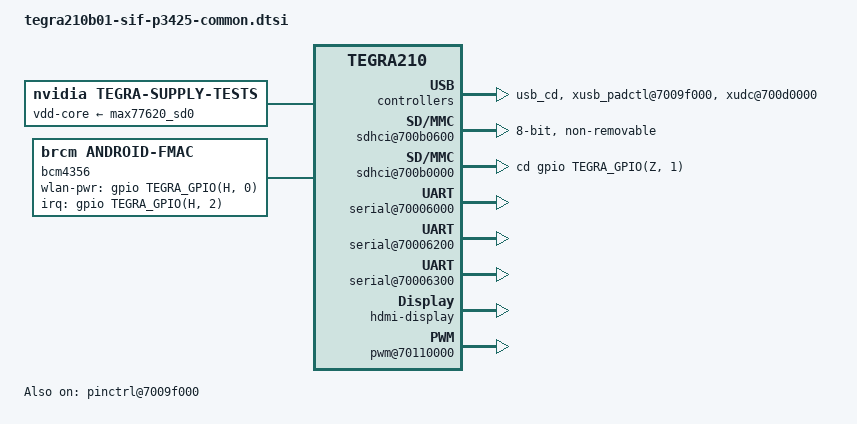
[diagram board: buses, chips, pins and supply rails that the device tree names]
/*
 * Copyright (c) 2018-2019, NVIDIA CORPORATION.  All rights reserved.
 *
 * This program is free software; you can redistribute it and/or modify
 * it under the terms of the GNU General Public License as published by
 * the Free Software Foundation; either version 2 of the License, or
 * (at your option) any later version.
 *
 * This program is distributed in the hope that it will be useful, but WITHOUT
 * ANY WARRANTY; without even the implied warranty of MERCHANTABILITY or
 * FITNESS FOR A PARTICULAR PURPOSE.  See the GNU General Public License for
 * more details.
 *
 * You should have received a copy of the GNU General Public License along
 * with this program; if not, write to the Free Software Foundation, Inc.,
 * 51 Franklin Street, Fifth Floor, Boston, MA  02110-1301, USA.
 */

/dts-v1/;

/memreserve/ 0x80000000 0x00020000;

#include <tegra210b01-soc/tegra210b01-soc-common-platform.dtsi>
#include <tegra210-soc/mods-simple-bus.dtsi>
#include <tegra210-soc/tegra210-audio.dtsi>
#include <t210-common-platforms/tegra210-p2530-common.dtsi>
#include "sif-platforms/tegra210b01-sif-gpio-p3425-0500-a01.dtsi"
#include "foster-platforms/tegra210-pinmux-drive-sdmmc-common.dtsi"
#include "foster-platforms/tegra210-loki-e-comms.dtsi"
#include "sif-platforms/tegra210b01-sif-pwm-fan.dtsi"
#include "foster-platforms/tegra210-darcy-prods.dtsi"
#include <t210-common-platforms/tegra210-ers-hdmi-e2190-1100-a00.dtsi>
#include "sif-platforms/tegra210b01-sif-thermal-fan-est.dtsi"
#include "foster-platforms/tegra210-loki-e-keys-p2530-0032-e00.dtsi"
#include <dt-bindings/iio/meter/ina3221x.h>
#include "sif-platforms/tegra210b01-sif-cpufreq.dtsi"
#include "sif-platforms/tegra210b01-sif-power-dvfs.dtsi"
#include "foster-platforms/tegra210-foster-powermon-p2530-0930-e01.dtsi"
#include "sif-platforms/tegra210b01-sif-p3425-a01-padvoltage-default.dtsi"

/ {
	firmware {
		android {
			compatible = "android,firmware";
			vbmeta {
				compatible = "android,vbmeta";
				parts = "vbmeta,DTB,LNX,APP,vendor,SOS";
			};
			fstab {
				compatible = "android,fstab";
				vendor {
					compatible = "android,vendor";
					dev = "/dev/block/platform/sdhci-tegra.3/by-name/vendor";
					type = "ext4";
					mnt_flags = "ro,noatime";
					fsmgr_flags = "wait,avb";
				};
			};
		};
	};

	usb_cd: usb_cd@7009f000 {
		compatible = "nvidia,tegra210-usb-cd";
		reg = <0x0 0x7009f000 0x0 0x1000>;
		phys = <&{/xusb_padctl@7009f000/pads/usb2/lanes/usb2-0}>;
		phy-names = "otg-phy";
		status = "okay";
	};

	gpio-keys {
		power {
			gpios = <&gpio TEGRA_GPIO(X, 7) GPIO_ACTIVE_LOW>;
			nvidia,pmc-wakeup = <&tegra_pmc
				PMC_WAKE_TYPE_GPIO 26 PMC_TRIGGER_TYPE_NONE>;
		};

		sw_lid {
			status="disabled";
		};
	};

	psy_extcon_xudc {
		/delete-property/ dt-override-status-odm-data;
	};

	se_elp@70420000 {
		status = "disabled";
	};

	dummy_cool_dev: dummy-cool-dev {
		compatible = "dummy-cooling-dev";
		#cooling-cells = <2>; /* min followed by max */
	};

	pmc@7000e400 {
		#nvidia,wake-cells = <3>;
		nvidia,suspend-mode = <0>;
		nvidia,cpu-pwr-good-time = <0>;
		nvidia,cpu-pwr-off-time = <0>;
		nvidia,core-pwr-good-time = <4587 3876>;
		nvidia,core-pwr-off-time = <39065>;
		nvidia,core-power-req-active-high;
		nvidia,sys-clock-req-active-high;
		nvidia,restrict-voltage-switch;
		pinctrl_iopad_default:iopad-defaults {
			sdmmc-io-pads {
				pins = "sdmmc1";
				nvidia,enable-voltage-switching;
			};
			sdmmc-dpd-enable {
				pins = "emmc2";
				low-power-enable;
			};
		};
	};

	sdhci@700b0600 { /* SDMMC4 for EMMC */
		uhs-mask = <0x0>;
		mmc-hs400-enhanced-strobe;
		built-in;
		power-off-rail;
		bus-width = <8>;
		mmc-ddr-1_8v;
		mmc-hs200-1_8v;
		mmc-hs400-1_8v;
		no-sdio;
		no-sd;
		non-removable;
		status = "okay";
	};

	sdhci@700b0000 { /* SDMMC1 for SD card */
		default-drv-type = <1>;
		mmc-ocr-mask = <0x0>;
		cd-gpios = <&gpio TEGRA_GPIO(Z, 1) 0>;
		sd-uhs-sdr104;
		sd-uhs-sdr50;
		sd-uhs-sdr25;
		sd-uhs-sdr12;
		mmc-ddr-1_8v;
		mmc-hs200-1_8v;
		nvidia,cd-wakeup-capable;
		no-sdio;
		no-mmc;
		status = "okay";
	};

	chosen {
		bootargs = "earlycon=uart8250,mmio32,0x70006000,androidboot.secureos=tlk";
		stdout-path = &uarta;
		nvidia,tegra-darcy-sku;
		nvidia,tegra-sif-sku;
		no-tnid-sn;
		nvidia,bootloader-xusb-enable;
		nvidia,bootloader-vbus-enable=<0x1>;
		fastboot-instructions = "Press Power Button to move highlight\nLong press Power Button to select\n";
		nvidia,fastboot_without_usb;
		nvidia,gpu-disable-power-saving;
		verified-boot {
			poweroff-on-red-state;
			ui-timeout-ms {
				yellow-state = <7000>;
				red-state = <10000>;
				red-state-eio = <10000>;
				orange-state = <10000>;
			};
		};
	};

	serial@70006000 {
		compatible = "nvidia,tegra20-uart", "nvidia,tegra114-hsuart";
		console-port;
		sqa-automation-port;
		enable-rx-poll-timer;
		/delete-property/ resets;
		/delete-property/ reset-names;
		status = "okay";
	};

	serial@70006200 {
		compatible = "nvidia,tegra114-hsuart";
		dma-names = "tx";
		nvidia,adjust-baud-rates = <921600 921600 100>;
		status = "okay";
	};

	serial@70006300 {
		compatible = "nvidia,tegra114-hsuart";
		status = "okay";
	};


	spi@7000da00 {
		status = "disabled";
	};

	efuse@7000f800 {
		efuse-burn {
			nvidia,redundant-aid-war;
		};
	};

	aconnect@702c0000 {
		ahub {
			i2s@702d1100 {
				pinctrl-names = "dap_active", "dap_inactive";
				pinctrl-0 = <>;
				pinctrl-1 = <>;
				regulator-supplies = "vdd-1v8-spi-hv", "vdd-1v8-spi-hv-bias";
				vdd-1v8-spi-hv-supply = <&max77620_sd3>;
				vdd-1v8-spi-hv-bias-supply = <&max77620_sd3>;
				fsync-width = <0>;
			};
		};
	};

	watchdog@60005100 {
		nvidia,enable-on-init;
		timeout-sec = <120>;
		status = "disabled";
	};

	extcon {
		extcon@0 {
			status = "disabled";
		};
	};

	mailbox@70098000 {
		status = "okay";
	};

	xusb_padctl@7009f000 {
		status = "okay";

		pads {
			usb2 {
				status = "okay";

				lanes {
					usb2-0 {
						status = "okay";
						nvidia,function = "xusb";
					};
				};
			};

			pcie {
				status = "okay";

				lanes {
					pcie-0 {
						status = "okay";
						nvidia,function = "pcie-x1";
					};
					pcie-1 {
						status = "okay";
						nvidia,function = "xusb";
					};
					pcie-2 {
						status = "okay";
						nvidia,function = "pcie-x4";
					};
					pcie-3 {
						status = "okay";
						nvidia,function = "pcie-x4";
					};
					pcie-4 {
						status = "okay";
						nvidia,function = "xusb";
					};
					pcie-5 {
						status = "okay";
						nvidia,function = "xusb";
					};
				};
			};
		};

		ports {
			usb2-0 {
				status = "okay";
				mode = "otg";
			};
		};
	};

	pinctrl@7009f000 {
		compatible = "nvidia,tegra21xb01-padctl-uphy";
		clocks = <&tegra_car TEGRA210_CLK_HSIC_TRK>,
				<&tegra_car TEGRA210_CLK_USB2_TRK>,
				<&tegra_car TEGRA210_CLK_PLL_E>,
				<&tegra_car TEGRA210_CLK_PLL_P_UPHY_OUT>;
		clock-names = "hsic_trk", "usb2_trk", "pll_e", "mgmt_clk";
		status = "okay";
		pinctrl-0 = <&tegra_padctl_uphy_pinmux_default>;
		pinctrl-names = "default";
		tegra_padctl_uphy_pinmux_default: pinmux {
			usb2-std-A-J1 {
				 nvidia,lanes = "otg-0";
				 nvidia,function = "xusb";
				 nvidia,port-cap =
					<TEGRA_PADCTL_PORT_OTG_CAP>;
			};
			usb3-std-A-J1 {
				 nvidia,lanes = "uphy-lane-5";
				 nvidia,function = "usb3";
				 nvidia,usb3-port = <0>;
				 nvidia,usb2-map = <0>;
				 nvidia,port-cap =
					<TEGRA_PADCTL_PORT_OTG_CAP>;
			};
			usb2-std-A-J2 {
				 nvidia,lanes = "otg-2";
				 nvidia,function = "xusb";
				 nvidia,port-cap =
					<TEGRA_PADCTL_PORT_HOST_ONLY>;
			};
			usb3-std-A-J2 {
				 nvidia,lanes = "uphy-lane-4";
				 nvidia,function = "usb3";
				 nvidia,usb3-port = <1>;
				 nvidia,usb2-map = <2>;
				 nvidia,port-cap =
					<TEGRA_PADCTL_PORT_HOST_ONLY>;
			};
			usb2-eth {
				nvidia,lanes = "otg-1";
				nvidia,function = "xusb";
				nvidia,port-cap =
					<TEGRA_PADCTL_PORT_HOST_ONLY>;
			};
			usb3-eth {
				nvidia,lanes = "uphy-lane-1";
				nvidia,function = "usb3";
				nvidia,usb3-port = <2>;
				nvidia,usb2-map = <1>;
				nvidia,port-cap =
					<TEGRA_PADCTL_PORT_HOST_ONLY>;
			};
			pcie-0-x2 {
				 nvidia,lanes =	"uphy-lane-2", "uphy-lane-3";
				 nvidia,function = "pcie";
				 nvidia,pcie-controller = <0>;
				 nvidia,pcie-lane-select =
					<TEGRA_PADCTL_PCIE_LANE_X4>;
			};
			pcie-1-x1 {
				 nvidia,lanes =	"uphy-lane-0";
				 nvidia,function = "pcie";
				 nvidia,pcie-controller = <1>;
				 nvidia,pcie-lane-select =
					<TEGRA_PADCTL_PCIE_LANE_X1>;
			};

		};
	};

	xusb@70090000 {
		compatible = "nvidia,tegra210b01-xhci";
		phys = <&{/xusb_padctl@7009f000/pads/usb2/lanes/usb2-0}>;
		phy-names = "usb2-0";
		#extcon-cells = <1>;
		status = "disabled";
		nvidia,pmc-wakeup =
			<&tegra_pmc
				PMC_WAKE_TYPE_EVENT 39 PMC_TRIGGER_TYPE_HIGH>,
			<&tegra_pmc
				PMC_WAKE_TYPE_EVENT 40 PMC_TRIGGER_TYPE_HIGH>,
			<&tegra_pmc
				PMC_WAKE_TYPE_EVENT 41 PMC_TRIGGER_TYPE_HIGH>,
			<&tegra_pmc
				PMC_WAKE_TYPE_EVENT 42 PMC_TRIGGER_TYPE_HIGH>,
			<&tegra_pmc
				PMC_WAKE_TYPE_EVENT 44 PMC_TRIGGER_TYPE_HIGH>;
	};

	xudc@700d0000 {
		compatible = "nvidia,tegra210b01-xudc";
		phys =	<&{/xusb_padctl@7009f000/pads/usb2/lanes/usb2-0}>;
		phy-names = "usb2";
		#extcon-cells = <1>;
		status = "okay";
		charger-detector = <&usb_cd>;
	};

	xotg {
		#extcon-cells = <1>;
	};

	pinmux@700008d4 {
		pinmux_default: common {
			pz1 {
				nvidia,pins = "pz1";
				nvidia,function = "rsvd2";
				nvidia,pull = <TEGRA_PIN_PULL_UP>;
				nvidia,tristate = <TEGRA_PIN_ENABLE>;
				nvidia,enable-input = <TEGRA_PIN_DISABLE>;
			};
			pz2 {
				nvidia,pins = "pz2";
				nvidia,function = "rsvd2";
				nvidia,pull = <TEGRA_PIN_PULL_UP>;
				nvidia,tristate = <TEGRA_PIN_ENABLE>;
				nvidia,enable-input = <TEGRA_PIN_DISABLE>;
			};
		};
		dvfs_pwm_active_state: dvfs_pwm_active {
			dvfs_pwm_pbb1 {
				nvidia,pins = "dvfs_pwm_pbb1";
				nvidia,tristate = <TEGRA_PIN_DISABLE>;
			};
		};

		dvfs_pwm_inactive_state: dvfs_pwm_inactive {
			dvfs_pwm_pbb1 {
				nvidia,pins = "dvfs_pwm_pbb1";
				nvidia,tristate = <TEGRA_PIN_ENABLE>;
			};
		};
		dsi_ab_pad_default: dsi_ab_pad_default {
			dsi_ab_pad_enable {
				nvidia,pins = "pad_dsi_ab";
				nvidia,pad-power = <TEGRA_PIN_ENABLE>;
			};
		};
		dsi_cd_pad_default: dsi_cd_pad_default {
			dsi_cd_pad_enable {
				nvidia,pins = "pad_dsi_cd";
				nvidia,pad-power = <TEGRA_PIN_ENABLE>;
			};
		};
		dsi_ab_pad_idle: dsi_ab_pad_idle {
			dsi_ab_pad_disable {
				nvidia,pins = "pad_dsi_ab";
				nvidia,pad-power = <TEGRA_PIN_DISABLE>;
			};
		};
		dsi_cd_pad_idle: dsi_cd_pad_idle {
			dsi_cd_pad_disable {
				nvidia,pins = "pad_dsi_cd";
				nvidia,pad-power = <TEGRA_PIN_DISABLE>;
			};
		};
	};

	host1x {
		/* tegradc.0 */
		dc@54200000 {
			status = "okay";
			nvidia,dc-flags = <TEGRA_DC_FLAG_ENABLED>;
			nvidia,emc-clk-rate = <300000000>;
			nvidia,cmu-enable = <1>;
			nvidia,fb-bpp = <32>; /* bits per pixel */
			nvidia,fb-flags = <TEGRA_FB_FLIP_ON_PROBE>;
			nvidia,dc-or-node = "/host1x/sor1";
			nvidia,50hz-ss-war;
			nvidia,dc-connector = <&sor1>;
		};
		dpaux {
			status = "okay";
		};
		sor1 {
			status = "okay";
			hdmi-display {
				status = "okay";
			};
		};
		dpaux1 {
			status = "okay";
		};
		vi {
			status = "okay";
		};
	};

	pwm@7000a000 {
		nvidia,no-clk-sleeping-in-ops;
	};

	pwm@70110000 {
		pinctrl-0 = <&dvfs_pwm_active_state>;
		pinctrl-1 = <&dvfs_pwm_inactive_state>;
		pwm-regulator = <&cpu_ovr_reg>;
		status = "okay";
	};

	clock@70110000 {
		status = "okay";
		nvidia,pwm-to-pmic;
		nvidia,init-uv = <800000>;
		nvidia,sample-rate = <25000>;
		nvidia,droop-ctrl = <0x00000f00>;
		nvidia,force-mode = <1>;
		nvidia,cf = <6>;
		nvidia,ci = <0>;
		nvidia,cg = <2>;
		nvidia,idle-override;
		nvidia,one-shot-calibrate;
		nvidia,one-shot-settle-time = <100>;
		nvidia,pwm-period = <2500>; /* 2.5us */
		pinctrl-names = "dvfs_pwm_enable", "dvfs_pwm_disable";
		pinctrl-0 = <&dvfs_pwm_active_state>;
		pinctrl-1 = <&dvfs_pwm_inactive_state>;
		nvidia,align-offset-uv = <500000>;
		nvidia,align-step-uv = <19375>;
	};

	cpus {
		cpu@0 {
			clocks = <&tegra_car TEGRA210_CLK_CCLK_G>,
				<&tegra_car TEGRA210_CLK_CCLK_LP>,
				<&tegra_car TEGRA210_CLK_PLL_X>,
				<&tegra_car TEGRA210_CLK_PLL_P_OUT4>,
				<&tegra_clk_dfll>;
			clock-names = "cpu_g", "cpu_lp", "pll_x", "pll_p", "dfll";
			clock-latency = <300000>;
		};
	};

	memory-controller@70019000 {
		status = "okay";
        };

	dvfs {
		compatible = "nvidia,tegra210b01-dvfs", "nvidia,tegra210-dvfs";
	};

	tegra-supply-tests {
		compatible = "nvidia,tegra-supply-tests";
		vdd-core-supply=<&max77620_sd0>;
	};

	gpu-dvfs-rework {
		status = "okay";
	};

	core_dvfs_cdev_cap {
		clocks = <&tegra_car TEGRA210_CLK_CAP_VCORE_C2BUS>,
			 <&tegra_car TEGRA210_CLK_CAP_VCORE_C3BUS>,
			 <&tegra_car TEGRA210_CLK_CAP_VCORE_CBUS>,
			 <&tegra_car TEGRA210_CLK_CAP_VCORE_APE>;
		clock-names = "c2bus_cap", "c3bus_cap", "cbus_cap", "ape_cap";
	};

	dfll_cap: dfll-cdev-cap {
		compatible = "nvidia,tegra-dfll-cdev-action";
		act-dev = <&tegra_clk_dfll>;
		cdev-type = "DFLL-cap";
		#cooling-cells = <2>; /* min followed by max */
	};

	dfll_floor: dfll-cdev-floor {
		compatible = "nvidia,tegra-dfll-cdev-action";
		act-dev = <&tegra_clk_dfll>;
		cdev-type = "DFLL-floor";
		#cooling-cells = <2>; /* min followed by max */
	};

	gpio-timed-keys {
		power {
			gpios = <&gpio TEGRA_GPIO(X, 7) GPIO_ACTIVE_LOW>;
		};
	};

	soctherm@0x700E2000 {
		status = "okay";

		throttle-cfgs {
			throttle_oc1: oc1 {
				nvidia,priority = <50>;
				nvidia,polarity-active-low = <1>;
				nvidia,count-threshold = <100>;
				nvidia,alarm-filter = <5100000>;
				nvidia,alarm-period = <0>;
				nvidia,cpu-throt-percent = <75>;
				nvidia,gpu-throt-level =
					<TEGRA_SOCTHERM_THROT_LEVEL_MED>;
			};
		};
	};

	sound_card: sound {
		compatible = "nvidia,tegra-audio-t210ref-mobile-rt565x";
		nvidia,model = "tegra-snd-t210ref-mobile-rt565x";

		clocks = <&tegra_car TEGRA210_CLK_PLL_P_OUT1>,
			<&tegra_car TEGRA210_CLK_PLL_A>,
			<&tegra_car TEGRA210_CLK_PLL_A_OUT0>,
			<&tegra_car TEGRA210_CLK_D_AUDIO>,
			<&tegra_car TEGRA210_CLK_CLK_M>,
			<&tegra_car TEGRA210_CLK_EXTERN1>;
		clock-names = "pll_p_out1", "pll_a", "pll_a_out0", "ahub",
			"clk_m", "extern1";

		assigned-clocks = <&tegra_car TEGRA210_CLK_PLL_A>,
			<&tegra_car TEGRA210_CLK_PLL_A_OUT0>,
			<&tegra_car TEGRA210_CLK_D_AUDIO>,
			<&tegra_car TEGRA210_CLK_EXTERN1>;
		assigned-clock-rates = <368640000>, <36864000>,
			<36864000>, <12288000>;
		nvidia,num-codec-link = <1>;

		nvidia,audio-routing =
			"y Headphone", 	"y OUT",
			"y IN",		"y Mic";

		nvidia,xbar = <&tegra_axbar>;

		/* The codec-dai here is initialized to dummy and will be   */
		/* replaced with rt565x codec-dai on detecting super-module */
		nvidia,dai-link-1 {
			link-name = "rt565x-playback";
			cpu-dai = <&tegra_i2s2>;
			codec-dai = <&spdif_dit0>;
			cpu-dai-name = "I2S2";
			codec-dai-name = "dit-hifi";
			tx-mask = <0xFF>;
			rx-mask = <0xFF>;
			format = "dsp_a";
			bitclock-slave;
			frame-slave;
			bitclock-inversion;
			frame-noninversion;
			bit-format = "s16_le";
			bclk_ratio = <4>;
			srate = <48000>;
			num-channel = <1>;
			ignore_suspend;
			name-prefix = "y";
		};
	};

	i2c@7000c400 {
		ina3221x: ina3221x@40 {
			status = "disabled";
			channel@0 {
				reg = <0x0>;
				ti,rail-name = "VDD_NOOP1";
				ti,shunt-resistor-mohm = <5>;
			};
			channel@1 {
				reg = <0x1>;
				ti,rail-name = "VDD_5V0_SYS";
				ti,shunt-resistor-mohm = <5>;
			};
			channel@2 {
				reg = <0x2>;
				ti,rail-name = "VDD_NOOP2";
				ti,shunt-resistor-mohm = <5>;
			};
		};
	};


	gpio@6000d000 {
		wlan-default-input {
			label = "wifi-wake-ap";
		};
		wlan-default-output-high {
			label = "wifi-enable";
		};
	};

	bluedroid_pm {
		nvidia,pmc-wakeup = <&tegra_pmc
			PMC_WAKE_TYPE_EVENT 52 PMC_TRIGGER_TYPE_HIGH>;
	};

	bcm4356: brcmfmac_pcie_wlan {
		compatible = "brcm,android-fmac";
		interrupt-parent = <&gpio>;
		interrupts = <TEGRA_GPIO(H, 2) 0x14>;
		nvidia,pmc-wakeup = <&tegra_pmc
		PMC_WAKE_TYPE_EVENT 8 PMC_TRIGGER_TYPE_HIGH>;
		wlan-pwr-gpio = <&gpio TEGRA_GPIO(H, 0) 0>;
		status = "okay";
		country_code_map {
			CC_XV {
				iso_abbrev = "XV";
				custom_locale = "XV";
				custom_locale_rev = <0>;
			};
			CC_US {
				iso_abbrev = "US";
				custom_locale = "US";
				custom_locale_rev = <0>;
			};
			CC_CA {
				iso_abbrev = "CA";
				custom_locale = "Q2";
				custom_locale_rev = <0>;
			};
			CC_AT {
				iso_abbrev = "AT";
				custom_locale = "DE";
				custom_locale_rev = <0>;
			};
			CC_BE {
				iso_abbrev = "BE";
				custom_locale = "DE";
				custom_locale_rev = <0>;
			};
			CC_BG {
				iso_abbrev = "BG";
				custom_locale = "DE";
				custom_locale_rev = <0>;
			};
			CC_HR {
				iso_abbrev = "HR";
				custom_locale = "DE";
				custom_locale_rev = <0>;
			};
			CC_CY {
				iso_abbrev = "CY";
				custom_locale = "DE";
				custom_locale_rev = <0>;
			};
			CC_CZ {
				iso_abbrev = "CZ";
				custom_locale = "DE";
				custom_locale_rev = <0>;
			};
			CC_DK {
				iso_abbrev = "DK";
				custom_locale = "DE";
				custom_locale_rev = <0>;
			};
			CC_EE {
				iso_abbrev = "EE";
				custom_locale = "DE";
				custom_locale_rev = <0>;
			};
			CC_FI {
				iso_abbrev = "FI";
				custom_locale = "DE";
				custom_locale_rev = <0>;
			};
			CC_FR {
				iso_abbrev = "FR";
				custom_locale = "DE";
				custom_locale_rev = <0>;
			};
			CC_DE {
				iso_abbrev = "DE";
				custom_locale = "DE";
				custom_locale_rev = <0>;
			};
			CC_GR {
				iso_abbrev = "GR";
				custom_locale = "DE";
				custom_locale_rev = <0>;
			};
			CC_HU {
				iso_abbrev = "HU";
				custom_locale = "DE";
				custom_locale_rev = <0>;
			};
			CC_IS {
				iso_abbrev = "IS";
				custom_locale = "DE";
				custom_locale_rev = <0>;
			};
			CC_IE {
				iso_abbrev = "IE";
				custom_locale = "DE";
				custom_locale_rev = <0>;
			};
			CC_IT {
				iso_abbrev = "IT";
				custom_locale = "DE";
				custom_locale_rev = <0>;
			};
			CC_LV {
				iso_abbrev = "LV";
				custom_locale = "DE";
				custom_locale_rev = <0>;
			};
			CC_LI {
				iso_abbrev = "LI";
				custom_locale = "DE";
				custom_locale_rev = <0>;
			};
			CC_LT {
				iso_abbrev = "LT";
				custom_locale = "DE";
				custom_locale_rev = <0>;
			};
			CC_LU {
				iso_abbrev = "LU";
				custom_locale = "DE";
				custom_locale_rev = <0>;
			};
			CC_MT {
				iso_abbrev = "MT";
				custom_locale = "DE";
				custom_locale_rev = <0>;
			};
			CC_NL {
				iso_abbrev = "NL";
				custom_locale = "DE";
				custom_locale_rev = <0>;
			};
			CC_NO {
				iso_abbrev = "NO";
				custom_locale = "DE";
				custom_locale_rev = <0>;
			};
			CC_PL {
				iso_abbrev = "PL";
				custom_locale = "DE";
				custom_locale_rev = <0>;
			};
			CC_PT {
				iso_abbrev = "PT";
				custom_locale = "DE";
				custom_locale_rev = <0>;
			};
			CC_RO {
				iso_abbrev = "RO";
				custom_locale = "DE";
				custom_locale_rev = <0>;
			};
			CC_SK {
				iso_abbrev = "SK";
				custom_locale = "DE";
				custom_locale_rev = <0>;
			};
			CC_SI {
				iso_abbrev = "SI";
				custom_locale = "DE";
				custom_locale_rev = <0>;
			};
			CC_ES {
				iso_abbrev = "ES";
				custom_locale = "DE";
				custom_locale_rev = <0>;
			};
			CC_SE {
				iso_abbrev = "SE";
				custom_locale = "DE";
				custom_locale_rev = <0>;
			};
			CC_CH {
				iso_abbrev = "CH";
				custom_locale = "DE";
				custom_locale_rev = <0>;
			};
			CC_TR {
				iso_abbrev = "TR";
				custom_locale = "DE";
				custom_locale_rev = <0>;
			};
			CC_GB {
				iso_abbrev = "GB";
				custom_locale = "DE";
				custom_locale_rev = <0>;
			};
			CC_EU {
				iso_abbrev = "EU";
				custom_locale = "DE";
				custom_locale_rev = <0>;
			};
			CC_E0 {
				iso_abbrev = "E0";
				custom_locale = "DE";
				custom_locale_rev = <0>;
			};
			CC_AU {
				iso_abbrev = "AU";
				custom_locale = "AU";
				custom_locale_rev = <0>;
			};
			CC_CN {
				iso_abbrev = "CN";
				custom_locale = "CN";
				custom_locale_rev = <0>;
			};
			CC_IN {
				iso_abbrev = "IN";
				custom_locale = "IN";
				custom_locale_rev = <0>;
			};
			CC_JP {
				iso_abbrev = "JP";
				custom_locale = "JP";
				custom_locale_rev = <0>;
			};
			CC_KR {
				iso_abbrev = "KR";
				custom_locale = "KR";
				custom_locale_rev = <0>;
			};
			CC_RU {
				iso_abbrev = "RU";
				custom_locale = "RU";
				custom_locale_rev = <0>;
			};
			CC_TW {
				iso_abbrev = "TW";
				custom_locale = "TW";
				custom_locale_rev = <0>;
			};
			CC_SG {
				iso_abbrev = "SG";
				custom_locale = "US";
				custom_locale_rev = <0>;
			};
			CC_HK {
				iso_abbrev = "HK";
				custom_locale = "DE";
				custom_locale_rev = <0>;
			};
			CC_NZ {
				iso_abbrev = "NZ";
				custom_locale = "AU";
				custom_locale_rev = <0>;
			};
			CC_AP {
				iso_abbrev = "AP";
				custom_locale = "XY";
				custom_locale_rev = <0>;
			};
		};
	};

	nvdumper {
		status = "okay";
	};

	nvs_dsm {
		compatible = "nvidia,nvs_dsm";
		status = "okay";
	};

	tlk {
		status = "okay";
	};

	i2c@7000c500 {
		status = "disabled";
	};

	i2c@7000d100 {
		status = "disabled";
	};

	rtc {
		nvidia,pmc-wakeup = <&tegra_pmc PMC_WAKE_TYPE_EVENT 16
				     PMC_TRIGGER_TYPE_HIGH>;
	};
};
